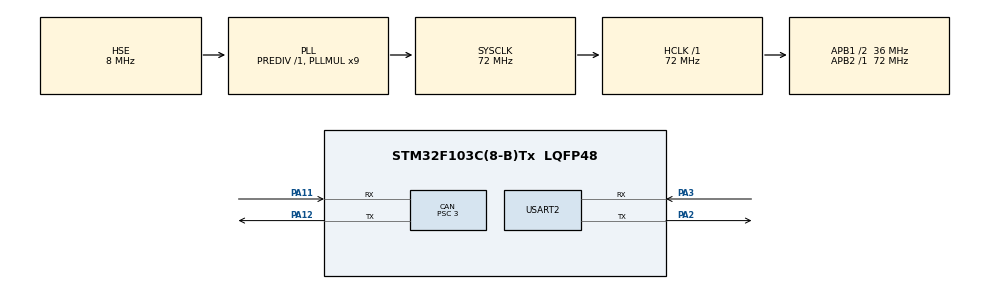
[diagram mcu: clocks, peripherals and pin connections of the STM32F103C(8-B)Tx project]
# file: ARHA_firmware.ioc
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CAN.BS1=CAN_BS1_9TQ
CAN.BS2=CAN_BS2_2TQ
CAN.CalculateBaudRate=999999
CAN.CalculateTimeBit=1000
CAN.CalculateTimeQuantum=83.33333333333334
CAN.Prescaler=3
Mcu.Family=STM32F1
Mcu.Name=STM32F103C(8-B)Tx
Mcu.Package=LQFP48
NVIC.PriorityGroup=NVIC_PRIORITYGROUP_4
NVIC.USB_LP_CAN1_RX0_IRQn=true\:0\:0\:false\:false\:true\:true\:true\:true
PA11.Mode=CAN_Activate
PA11.Signal=CAN_RX
PA12.Mode=CAN_Activate
PA12.Signal=CAN_TX
PA13.Mode=Serial_Wire
PA13.Signal=SYS_JTMS-SWDIO
PA14.Mode=Serial_Wire
PA14.Signal=SYS_JTCK-SWCLK
PA2.Mode=Asynchronous
PA2.Signal=USART2_TX
PA3.Mode=Asynchronous
PA3.Signal=USART2_RX
PD0-OSC_IN.Mode=HSE-External-Oscillator
PD0-OSC_IN.Signal=RCC_OSC_IN
PD1-OSC_OUT.Mode=HSE-External-Oscillator
PD1-OSC_OUT.Signal=RCC_OSC_OUT
ProjectManager.HeapSize=0x200
ProjectManager.StackSize=0x400
ProjectManager.TargetToolchain=STM32CubeIDE
RCC.AHBFreq_Value=72000000
RCC.APB1CLKDivider=RCC_HCLK_DIV2
RCC.APB1Freq_Value=36000000
RCC.APB1TimFreq_Value=72000000
RCC.APB2Freq_Value=72000000
RCC.APB2TimFreq_Value=72000000
RCC.HCLKFreq_Value=72000000
RCC.PLLMUL=RCC_PLL_MUL9
RCC.PLLSourceVirtual=RCC_PLLSOURCE_HSE
RCC.SYSCLKFreq_VALUE=72000000
RCC.SYSCLKSource=RCC_SYSCLKSOURCE_PLLCLK
RCC.USBFreq_Value=72000000
USART2.VirtualMode=VM_ASYNC
board=custom

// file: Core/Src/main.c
/* USER CODE BEGIN Header */
/**
  ******************************************************************************
  * @file           : main.c
  * @brief          : Main program body
  ******************************************************************************
  * @attention
  *
  * Copyright (c) 2025 STMicroelectronics.
  * All rights reserved.
  *
  * This software is licensed under terms that can be found in the LICENSE file
  * in the root directory of this software component.
  * If no LICENSE file comes with this software, it is provided AS-IS.
  *
  ******************************************************************************
  */
/* USER CODE END Header */
#include "main.h"
#include "myactuator.h"
#include <stdio.h>
#include <string.h>

CAN_HandleTypeDef hcan;

UART_HandleTypeDef huart2;

/* USER CODE BEGIN PV */
volatile float received_pid = 0.0f;
volatile uint8_t msg_received = 0;
volatile uint8_t motor_temperature = 0;
volatile uint8_t brake_status = 0;
volatile uint16_t motor_voltage = 0;
volatile uint16_t error_status = 0;
/* USER CODE END PV */

void SystemClock_Config(void);
static void MX_GPIO_Init(void);
static void MX_CAN_Init(void);
static void MX_USART2_UART_Init(void);
/* USER CODE BEGIN PFP */
static void CAN_ConfigFilter_AllToFIFO0(void);
/* USER CODE END PFP */

int main(void)
{

  /* MCU Configuration--------------------------------------------------------*/

  /* Reset of all peripherals, Initializes the Flash interface and the Systick. */
  HAL_Init();

  /* Configure the system clock */
  SystemClock_Config();

  /* Initialize all configured peripherals */
  MX_GPIO_Init();
  MX_CAN_Init();
  MX_USART2_UART_Init();
  /* USER CODE BEGIN 2 */
  CAN_ConfigFilter_AllToFIFO0();
  HAL_CAN_Start(&hcan);
  HAL_CAN_ActivateNotification(&hcan, CAN_IT_RX_FIFO0_MSG_PENDING);
  char startup_msg[] = "Motor CAN Communication Monitor Started\r\n";
  char separator[] = "=========================================\r\n";
  HAL_UART_Transmit(&huart2, (uint8_t*)startup_msg, strlen(startup_msg), HAL_MAX_DELAY);
  HAL_UART_Transmit(&huart2, (uint8_t*)separator, strlen(separator), HAL_MAX_DELAY);

  /* USER CODE END 2 */

  /* Infinite loop */
  while (1)
  {
	  MYACTUATOR_READ_MOTOR_STATUS_1(5);
	  if (msg_received == 1)
	  {
	      char uart_buffer[200];

	      // Format the motor status data instead of PID
	      snprintf(uart_buffer, sizeof(uart_buffer),
	               "Motor Status - Temp: %d°C, Brake: %d, Voltage: %d.%dV, Error: 0x%04X\r\n",
	               motor_temperature, brake_status,
	               motor_voltage / 10, motor_voltage % 10,
	               error_status);

	      // Send the formatted message via UART2
	      HAL_UART_Transmit(&huart2, (uint8_t*)uart_buffer, strlen(uart_buffer), HAL_MAX_DELAY);

	      // Clear the message received flag
	      msg_received = 0;
	  }
	  else
	  {
	      char no_msg_buffer[] = "Waiting for motor status...\r\n";
	      HAL_UART_Transmit(&huart2, (uint8_t*)no_msg_buffer, strlen(no_msg_buffer), HAL_MAX_DELAY);
	  }
	  HAL_Delay(1000);
  }
}

void SystemClock_Config(void)
{
  RCC_OscInitTypeDef RCC_OscInitStruct = {0};
  RCC_ClkInitTypeDef RCC_ClkInitStruct = {0};

  /** Initializes the RCC Oscillators according to the specified parameters
  * in the RCC_OscInitTypeDef structure.
  */
  RCC_OscInitStruct.OscillatorType = RCC_OSCILLATORTYPE_HSE;
  RCC_OscInitStruct.HSEState = RCC_HSE_ON;
  RCC_OscInitStruct.HSEPredivValue = RCC_HSE_PREDIV_DIV1;
  RCC_OscInitStruct.HSIState = RCC_HSI_ON;
  RCC_OscInitStruct.PLL.PLLState = RCC_PLL_ON;
  RCC_OscInitStruct.PLL.PLLSource = RCC_PLLSOURCE_HSE;
  RCC_OscInitStruct.PLL.PLLMUL = RCC_PLL_MUL9;
  if (HAL_RCC_OscConfig(&RCC_OscInitStruct) != HAL_OK)
  {
    Error_Handler();
  }

  /** Initializes the CPU, AHB and APB buses clocks
  */
  RCC_ClkInitStruct.ClockType = RCC_CLOCKTYPE_HCLK|RCC_CLOCKTYPE_SYSCLK
                              |RCC_CLOCKTYPE_PCLK1|RCC_CLOCKTYPE_PCLK2;
  RCC_ClkInitStruct.SYSCLKSource = RCC_SYSCLKSOURCE_PLLCLK;
  RCC_ClkInitStruct.AHBCLKDivider = RCC_SYSCLK_DIV1;
  RCC_ClkInitStruct.APB1CLKDivider = RCC_HCLK_DIV2;
  RCC_ClkInitStruct.APB2CLKDivider = RCC_HCLK_DIV1;

  if (HAL_RCC_ClockConfig(&RCC_ClkInitStruct, FLASH_LATENCY_2) != HAL_OK)
  {
    Error_Handler();
  }
}

static void MX_CAN_Init(void)
{

  hcan.Instance = CAN1;
  hcan.Init.Prescaler = 3;
  hcan.Init.Mode = CAN_MODE_NORMAL;
  hcan.Init.SyncJumpWidth = CAN_SJW_1TQ;
  hcan.Init.TimeSeg1 = CAN_BS1_9TQ;
  hcan.Init.TimeSeg2 = CAN_BS2_2TQ;
  hcan.Init.TimeTriggeredMode = DISABLE;
  hcan.Init.AutoBusOff = DISABLE;
  hcan.Init.AutoWakeUp = DISABLE;
  hcan.Init.AutoRetransmission = DISABLE;
  hcan.Init.ReceiveFifoLocked = DISABLE;
  hcan.Init.TransmitFifoPriority = DISABLE;
  if (HAL_CAN_Init(&hcan) != HAL_OK)
  {
    Error_Handler();
  }

}

static void MX_USART2_UART_Init(void)
{

  huart2.Instance = USART2;
  huart2.Init.BaudRate = 115200;
  huart2.Init.WordLength = UART_WORDLENGTH_8B;
  huart2.Init.StopBits = UART_STOPBITS_1;
  huart2.Init.Parity = UART_PARITY_NONE;
  huart2.Init.Mode = UART_MODE_TX_RX;
  huart2.Init.HwFlowCtl = UART_HWCONTROL_NONE;
  huart2.Init.OverSampling = UART_OVERSAMPLING_16;
  if (HAL_UART_Init(&huart2) != HAL_OK)
  {
    Error_Handler();
  }

}

static void MX_GPIO_Init(void)
{

  /* GPIO Ports Clock Enable */
  __HAL_RCC_GPIOD_CLK_ENABLE();
  __HAL_RCC_GPIOA_CLK_ENABLE();

}

/* USER CODE BEGIN 4 */
void HAL_CAN_RxFifo0MsgPendingCallback(CAN_HandleTypeDef *hcan)
{
    CAN_RxHeaderTypeDef RxHeader;
    uint8_t RxData[8];

    if (HAL_CAN_GetRxMessage(hcan, CAN_RX_FIFO0, &RxHeader, RxData) == HAL_OK)
    {
        // Debug output for ALL received CAN messages
        char debug_msg[150];
        snprintf(debug_msg, sizeof(debug_msg),
                 "CAN RX: ID=0x%03X, Cmd=0x%02X, Data: %02X %02X %02X %02X %02X %02X %02X %02X\r\n",
                 RxHeader.StdId, RxData[0], RxData[0], RxData[1], RxData[2], RxData[3],
                 RxData[4], RxData[5], RxData[6], RxData[7]);
        HAL_UART_Transmit(&huart2, (uint8_t*)debug_msg, strlen(debug_msg), HAL_MAX_DELAY);

        // Handle PID response (command 0x30)
        if (RxHeader.StdId == (0x240 + 5) && RxData[0] == READ_PID)
        {
            union {
                uint32_t u32;
                float f;
            } pid_converter;

            pid_converter.u32 = (uint32_t)RxData[4] |
                                (uint32_t)RxData[5] << 8 |
                                (uint32_t)RxData[6] << 16 |
                                (uint32_t)RxData[7] << 24;

            received_pid = pid_converter.f;
            msg_received = 1;

            // Additional PID debug info
            char pid_debug[100];
            snprintf(pid_debug, sizeof(pid_debug),
                     "PID Index %d: Raw=0x%08X, Float=%.6f\r\n",
                     RxData[1], pid_converter.u32, received_pid);
            HAL_UART_Transmit(&huart2, (uint8_t*)pid_debug, strlen(pid_debug), HAL_MAX_DELAY);
        }
        // Handle Motor Status response (try same command as request first)
        else if (RxHeader.StdId == (0x240 + 5) && RxData[0] == READ_MOTOR_STATUS_1)
        {
            // Extract motor status data according to documentation
            motor_temperature = RxData[1];  // Temperature in °C
            brake_status = RxData[3];       // Brake command state
            motor_voltage = (uint16_t)RxData[4] | ((uint16_t)RxData[5] << 8);  // Voltage (0.1V/LSB)
            error_status = (uint16_t)RxData[6] | ((uint16_t)RxData[7] << 8);   // Error flags
            msg_received = 1;

            // Format and display motor status
            char status_msg[200];
            snprintf(status_msg, sizeof(status_msg),
                     "Motor Status: Temp=%d°C, Brake=%d, Voltage=%d.%dV, Error=0x%04X\r\n",
                     motor_temperature, brake_status,
                     motor_voltage / 10, motor_voltage % 10,
                     error_status);
            HAL_UART_Transmit(&huart2, (uint8_t*)status_msg, strlen(status_msg), HAL_MAX_DELAY);
        }
        // Catch any other responses from your motor ID
        else if (RxHeader.StdId == (0x240 + 5))
        {
            char unknown_msg[100];
            snprintf(unknown_msg, sizeof(unknown_msg),
                     "Unknown command response: 0x%02X from motor\r\n", RxData[0]);
            HAL_UART_Transmit(&huart2, (uint8_t*)unknown_msg, strlen(unknown_msg), HAL_MAX_DELAY);
        }
    }
}

// Configure CAN filter to accept all messages to FIFO0
static void CAN_ConfigFilter_AllToFIFO0(void)
{
    CAN_FilterTypeDef sFilterConfig;

    sFilterConfig.FilterBank = 0;
    sFilterConfig.FilterMode = CAN_FILTERMODE_IDMASK;
    sFilterConfig.FilterScale = CAN_FILTERSCALE_32BIT;
    sFilterConfig.FilterIdHigh = 0x0000;
    sFilterConfig.FilterIdLow = 0x0000;
    sFilterConfig.FilterMaskIdHigh = 0x0000;
    sFilterConfig.FilterMaskIdLow = 0x0000;
    sFilterConfig.FilterFIFOAssignment = CAN_RX_FIFO0;
    sFilterConfig.FilterActivation = ENABLE;
    sFilterConfig.SlaveStartFilterBank = 14;

    if (HAL_CAN_ConfigFilter(&hcan, &sFilterConfig) != HAL_OK)
    {
        Error_Handler();
    }
}
/* USER CODE END 4 */

void Error_Handler(void)
{
  __disable_irq();
  while (1)
  {
  }
}
